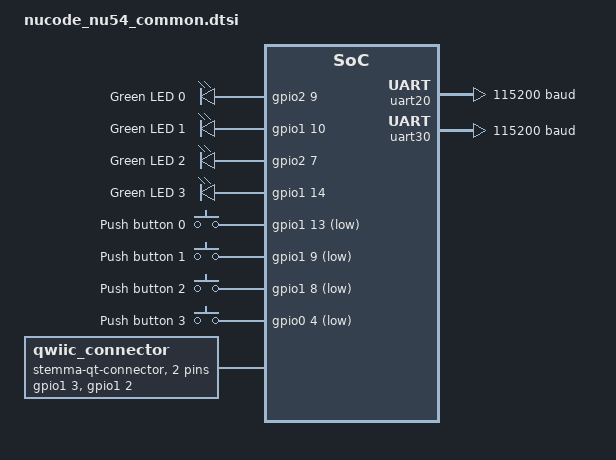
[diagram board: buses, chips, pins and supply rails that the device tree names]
/*
 * Copyright (c) 2024 Nordic Semiconductor ASA
 * Copyright (c) 2026 NUCODE Co., Ltd.
 * SPDX-License-Identifier: Apache-2.0
 */

#include "nucode_nu54-pinctrl.dtsi"
#include <zephyr/dt-bindings/gpio/gpio.h>
#include <zephyr/dt-bindings/input/input-event-codes.h>

/ {
	leds {
		compatible = "gpio-leds";

		led0: led_0 {
			gpios = <&gpio2 9 GPIO_ACTIVE_HIGH>;
			label = "Green LED 0";
		};

		led1: led_1 {
			gpios = <&gpio1 10 GPIO_ACTIVE_HIGH>;
			label = "Green LED 1";
		};

		led2: led_2 {
			gpios = <&gpio2 7 GPIO_ACTIVE_HIGH>;
			label = "Green LED 2";
		};

		led3: led_3 {
			gpios = <&gpio1 14 GPIO_ACTIVE_HIGH>;
			label = "Green LED 3";
		};
	};

	buttons {
		compatible = "gpio-keys";

		button0: button_0 {
			gpios = <&gpio1 13 (GPIO_PULL_UP | GPIO_ACTIVE_LOW)>;
			label = "Push button 0";
			zephyr,code = <INPUT_KEY_0>;
		};

		button1: button_1 {
			gpios = <&gpio1 9 (GPIO_PULL_UP | GPIO_ACTIVE_LOW)>;
			label = "Push button 1";
			zephyr,code = <INPUT_KEY_1>;
		};

		button2: button_2 {
			gpios = <&gpio1 8 (GPIO_PULL_UP | GPIO_ACTIVE_LOW)>;
			label = "Push button 2";
			zephyr,code = <INPUT_KEY_2>;
		};

		button3: button_3 {
			gpios = <&gpio0 4 (GPIO_PULL_UP | GPIO_ACTIVE_LOW)>;
			label = "Push button 3";
			zephyr,code = <INPUT_KEY_3>;
		};
	};

	aliases {
		led0 = &led0;
		led1 = &led1;
		led2 = &led2;
		led3 = &led3;
		sw0 = &button0;
		sw1 = &button1;
		sw2 = &button2;
		sw3 = &button3;
	};

	qwiic_connector: qwiic-connector {
		compatible = "stemma-qt-connector";
		#gpio-cells = <2>;
		gpio-map-mask = <0xffffffff 0xffffffc0>;
		gpio-map-pass-thru = <0 0x3f>;
		gpio-map = <0 0 &gpio1 3 0>,
			   <1 0 &gpio1 2 0>;
	};
};

&uart20 {
	current-speed = <115200>;
	pinctrl-0 = <&uart20_default>;
	pinctrl-1 = <&uart20_sleep>;
	pinctrl-names = "default", "sleep";
};

&uart30 {
	current-speed = <115200>;
	pinctrl-0 = <&uart30_default>;
	pinctrl-1 = <&uart30_sleep>;
	pinctrl-names = "default", "sleep";
};
